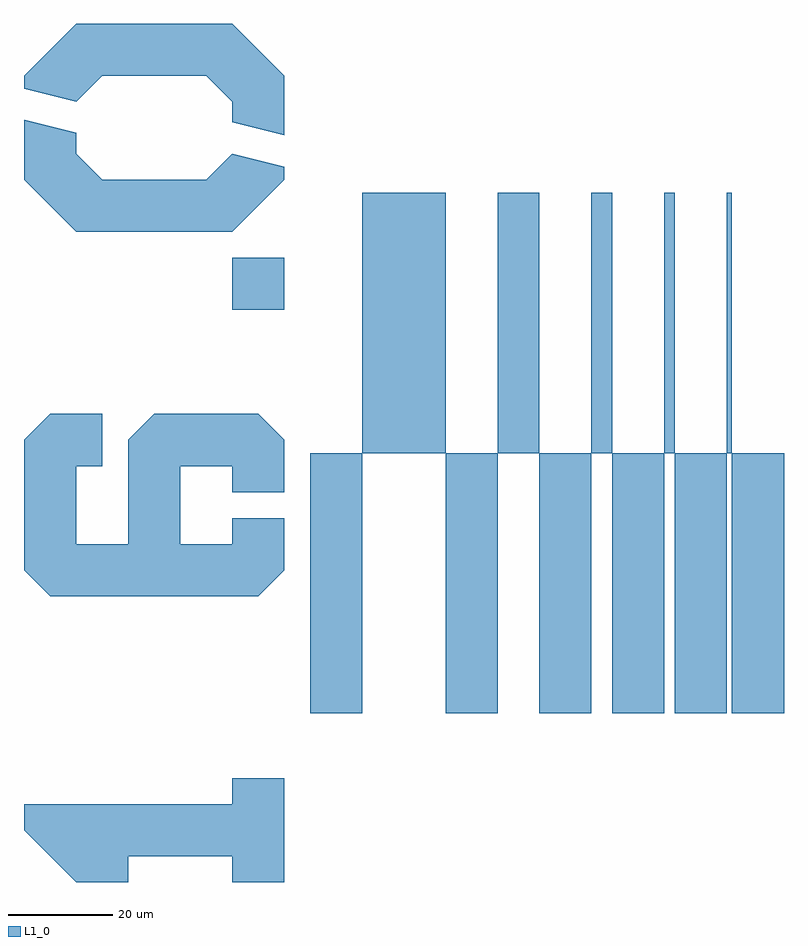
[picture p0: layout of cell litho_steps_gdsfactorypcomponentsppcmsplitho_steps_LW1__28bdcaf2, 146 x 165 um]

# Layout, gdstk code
from math import pi, radians
import gdstk
lib = gdstk.Library(unit=1e-6, precision=1e-09)
def R(c, l, rs):  # rectangles x0, y0, x1, y1
    for r in rs: c.add(gdstk.rectangle(r[:2], r[2:], *l))
def P(c, l, *ps):  # polygons
    for p in ps: c.add(gdstk.Polygon(p, *l))
L1_0 = (1, 0)

text_gdsfactorypcomponen = lib.new_cell('text_gdsfactorypcomponentsptextsptext_T16p0_S50_P0_0_Jc_9805ca98')
R(text_gdsfactorypcomponen, L1_0, [(27.5,0,37.5,10)])
P(text_gdsfactorypcomponen, L1_0, [(-82.5,0),(-82.5,10),(-77.5,10),(-77.5,30),(-82.5,30),(-82.5,40),(-72.5,50),(-67.5,50),(-67.5,10),(-62.5,10),(-62.5,0)],
  [(-22.5,0),(-27.5,5),(-27.5,45),(-22.5,50),(2.5,50),(7.5,45),(7.5,35),(-2.5,35),(-2.5,40),(-17.5,40),(-17.5,30),(2.5,30),(7.5,25),(7.5,5),(2.5,0),(-7.5,0),(-7.5,10),(-2.5,10),(-2.5,20),(-17.5,20),(-17.5,10),(-12.5,10),(-12.5,0)],
  [(52.5,0),(42.5,10),(42.5,40),(52.5,50),(64,50),(61.5,40),(57.5,40),(52.5,35),(52.5,15),(57.5,10),(55,0)],
  [(61,0),(63.5,10),(67.5,10),(72.5,15),(72.5,35),(67.5,40),(70,50),(72.5,50),(82.5,40),(82.5,10),(72.5,0)])

rectangle_gdsfactorypcom = lib.new_cell('rectangle_gdsfactorypcomponentspshapesprectangle_S10_50_186a707b')
R(rectangle_gdsfactorypcom, L1_0, [(0,0,10,50)])

c_rectangle_gdsfactorypcom = lib.new_cell('rectangle_gdsfactorypcomponentspshapesprectangle_S16_50_91819f0b')
R(c_rectangle_gdsfactorypcom, L1_0, [(0,0,16,50)])

c_rectangle_gdsfactorypcom_ = lib.new_cell('rectangle_gdsfactorypcomponentspshapesprectangle_S8_50__08d62a52')
R(c_rectangle_gdsfactorypcom_, L1_0, [(0,0,8,50)])

c_rectangle_gdsfactorypcom__ = lib.new_cell('rectangle_gdsfactorypcomponentspshapesprectangle_S4_50__437902f0')
R(c_rectangle_gdsfactorypcom__, L1_0, [(0,0,4,50)])

c_rectangle_gdsfactorypcom___ = lib.new_cell('rectangle_gdsfactorypcomponentspshapesprectangle_S2_50__504d1381')
R(c_rectangle_gdsfactorypcom___, L1_0, [(0,0,2,50)])

c_rectangle_gdsfactorypcom____ = lib.new_cell('rectangle_gdsfactorypcomponentspshapesprectangle_S1_50__439ee0ed')
R(c_rectangle_gdsfactorypcom____, L1_0, [(0,0,1,50)])

litho_steps_gdsfactorypc = lib.new_cell('litho_steps_gdsfactorypcomponentsppcmsplitho_steps_LW1__28bdcaf2')
litho_steps_gdsfactorypc.add(gdstk.Reference(text_gdsfactorypcomponen, (-5,0), rotation=pi/2))
litho_steps_gdsfactorypc.add(gdstk.Reference(rectangle_gdsfactorypcom, (0,-50)))
litho_steps_gdsfactorypc.add(gdstk.Reference(rectangle_gdsfactorypcom, (26,-50)))
litho_steps_gdsfactorypc.add(gdstk.Reference(c_rectangle_gdsfactorypcom, (10,0)))
litho_steps_gdsfactorypc.add(gdstk.Reference(rectangle_gdsfactorypcom, (44,-50)))
litho_steps_gdsfactorypc.add(gdstk.Reference(c_rectangle_gdsfactorypcom_, (36,0)))
litho_steps_gdsfactorypc.add(gdstk.Reference(rectangle_gdsfactorypcom, (58,-50)))
litho_steps_gdsfactorypc.add(gdstk.Reference(c_rectangle_gdsfactorypcom__, (54,0)))
litho_steps_gdsfactorypc.add(gdstk.Reference(rectangle_gdsfactorypcom, (70,-50)))
litho_steps_gdsfactorypc.add(gdstk.Reference(c_rectangle_gdsfactorypcom___, (68,0)))
litho_steps_gdsfactorypc.add(gdstk.Reference(rectangle_gdsfactorypcom, (81,-50)))
litho_steps_gdsfactorypc.add(gdstk.Reference(c_rectangle_gdsfactorypcom____, (80,0)))

lib.write_gds('litho_steps_gdsfactorypcomponentsppcmsplitho_steps_LW1__28bdcaf2.gds')
